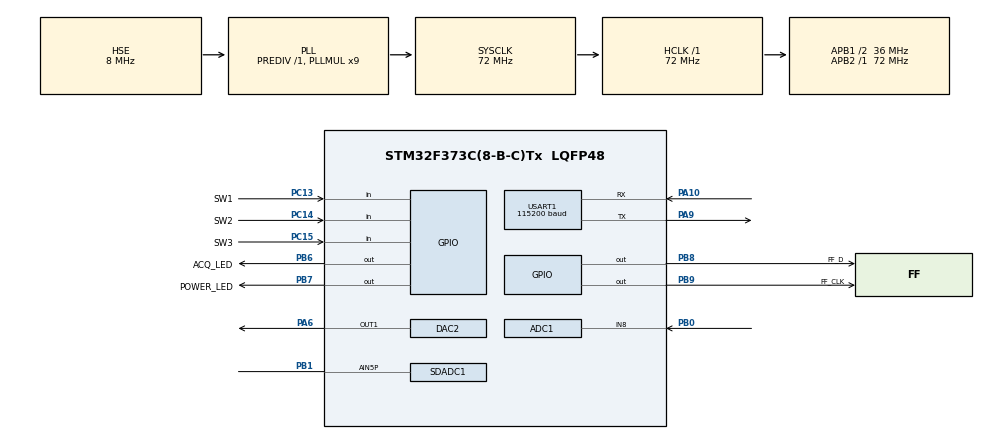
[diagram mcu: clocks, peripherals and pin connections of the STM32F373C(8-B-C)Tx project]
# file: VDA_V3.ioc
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ADC1.Channel-1\#ChannelRegularConversion=ADC_CHANNEL_8
ADC1.NbrOfConversionFlag=1
ADC1.Rank-1\#ChannelRegularConversion=1
ADC1.SamplingTime-1\#ChannelRegularConversion=ADC_SAMPLETIME_1CYCLE_5
ADC1.master=1
Mcu.Family=STM32F3
Mcu.Name=STM32F373C(8-B-C)Tx
Mcu.Package=LQFP48
NVIC.PriorityGroup=NVIC_PRIORITYGROUP_4
NVIC.TIM19_IRQn=true\:0\:0\:false\:false\:true\:true\:true\:true
NVIC.TIM2_IRQn=true\:0\:0\:false\:false\:true\:true\:true\:true
NVIC.USART1_IRQn=true\:0\:0\:false\:false\:true\:true\:true\:true
PA10.Mode=Asynchronous
PA10.Signal=USART1_RX
PA13.Mode=Serial_Wire
PA13.Signal=SYS_JTMS-SWDIO
PA14.Mode=Serial_Wire
PA14.Signal=SYS_JTCK-SWCLK
PA6.Signal=COMP_DAC21_group
PA9.Mode=Asynchronous
PA9.Signal=USART1_TX
PB0.Mode=IN8
PB0.Signal=ADC1_IN8
PB1.Mode=IN5-Single-Ended zero reference
PB1.Signal=SDADC1_AIN5P
PB6.GPIO_Label=ACQ_LED
PB6.Signal=GPIO_Output
PB7.GPIO_Label=POWER_LED
PB7.Signal=GPIO_Output
PB8.GPIO_Label=FF_D
PB8.Signal=GPIO_Output
PB9.GPIO_Label=FF_CLK
PB9.Signal=GPIO_Output
PC13.GPIO_Label=SW1
PC13.Signal=GPIO_Input
PC14-OSC32_IN.GPIO_Label=SW2
PC14-OSC32_IN.Signal=GPIO_Input
PC15-OSC32_OUT.GPIO_Label=SW3
PC15-OSC32_OUT.Signal=GPIO_Input
PF0-OSC_IN.Mode=HSE-External-Oscillator
PF0-OSC_IN.Signal=RCC_OSC_IN
PF1-OSC_OUT.Mode=HSE-External-Oscillator
PF1-OSC_OUT.Signal=RCC_OSC_OUT
ProjectManager.HeapSize=0x200
ProjectManager.StackSize=0x400
ProjectManager.TargetToolchain=STM32CubeIDE
RCC.AHBFreq_Value=72000000
RCC.APB1CLKDivider=RCC_HCLK_DIV2
RCC.APB1Freq_Value=36000000
RCC.APB1TimFreq_Value=72000000
RCC.APB2Freq_Value=72000000
RCC.APB2TimFreq_Value=72000000
RCC.CortexFreq_Value=72000000
RCC.HCLKFreq_Value=72000000
RCC.HSE_VALUE=8000000
RCC.HSI_VALUE=8000000
RCC.LSE_VALUE=32768
RCC.PLLMUL=RCC_PLL_MUL9
RCC.PLLSourceVirtual=RCC_PLLSOURCE_HSE
RCC.SDADCPresc=RCC_SDADCSYSCLK_DIV12
RCC.SYSCLKFreq_VALUE=72000000
RCC.SYSCLKSource=RCC_SYSCLKSOURCE_PLLCLK
RCC.USBFreq_Value=72000000
SDADC1.EnableInjectedConversion=ENABLE
SDADC1.EnableRegularconversion=DISABLE
SDADC1.Gain0=SDADC_GAIN_1_2
SDADC1.InjNumberOfConversion=1
SDADC1.InjectedChannel-0\#ChannelInjectedConversion=SDADC_CHANNEL_5
SDADC1.InjectedChannelsSelection=SDADC_CHANNEL_5
SDADC1.InjectedConfIndex-0\#ChannelInjectedConversion=SDADC_CONF_INDEX_0
SDADC1.InjectedRank-0\#ChannelInjectedConversion=1
SDADC1.InputMode0=SDADC_INPUT_MODE_SE_ZERO_REFERENCE
SDADC1.NbrOfConversionFlag=1
SDADC1.ReferenceVoltage=SDADC_VREF_VREFINT2
SH.COMP_DAC21_group.0=DAC2_OUT1,DAC_OUT1
TIM19.AutoReloadPreload=TIM_AUTORELOAD_PRELOAD_ENABLE
TIM19.Period=10000-1
TIM19.Prescaler=7200-1
TIM2.AutoReloadPreload=TIM_AUTORELOAD_PRELOAD_ENABLE
TIM2.Period=49999
TIM2.Prescaler=7
USART1.BaudRate=115200
USART1.VirtualMode-Asynchronous=VM_ASYNC
VP_SDADC1_CONF0.Mode=ConfigZero
VP_TIM19_VS_ClockSourceINT.Mode=Internal
VP_TIM2_VS_ClockSourceINT.Mode=Internal
board=custom

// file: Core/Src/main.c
/* USER CODE BEGIN Header */
/**
 ******************************************************************************
 * @file           : main.c
 * @brief          : Main program body
 ******************************************************************************
 * @attention
 *
 * Copyright (c) 2025 STMicroelectronics.
 * All rights reserved.
 *
 * This software is licensed under terms that can be found in the LICENSE file
 * in the root directory of this software component.
 * If no LICENSE file comes with this software, it is provided AS-IS.
 *
 ******************************************************************************
 */
/* USER CODE END Header */
#include "main.h"

/* USER CODE BEGIN Includes */
#include "state_machine.h"
#include "filters.h"
#include "serial_handler.h"
#include "agc.h"
#include "PID.h"
/* USER CODE END Includes */

ADC_HandleTypeDef hadc1;
DAC_HandleTypeDef hdac2;
SDADC_HandleTypeDef hsdadc1;
TIM_HandleTypeDef htim2;
TIM_HandleTypeDef htim19;
UART_HandleTypeDef huart1;

/* USER CODE BEGIN PV */
uint8_t programming_mode = 0;
uint8_t blink_ACQ_LED = 0;
uint8_t flag_new_sample = 0;
uint32_t gain;
uint32_t filtered_gain;
uint16_t lectura_vda;
uint16_t filtered_vda;

float setpoint = 45000;		// Lectura del ADC buscada para el algoritmo de AGC
uint16_t outPID;			// Salida de PID convertida a entero

/* USER CODE END PV */

void SystemClock_Config(void);
static void MX_GPIO_Init(void);
static void MX_SDADC1_Init(void);
static void MX_USART1_UART_Init(void);
static void MX_TIM2_Init(void);
static void MX_ADC1_Init(void);
static void MX_DAC2_Init(void);
static void MX_TIM19_Init(void);
/* USER CODE BEGIN PFP */
uint16_t Read_ADC(SDADC_HandleTypeDef *hsdadc);
/* USER CODE END PFP */

int main(void) {

	/* USER CODE BEGIN 1 */

	FiltroMediaMovil filtro_potentiometer;
	FiltroMediaMovil filtro_out_PID;
	FiltroMediaMovil_Init(&filtro_potentiometer, 30);	// Filtro con ventana de tamaño 30
	FiltroMediaMovil_Init(&filtro_out_PID, 3);       // Filtro con ventana de tamaño 3

	/* Inicializo el Controlador PID*/
	PIDController pid = { PID_KP, PID_KI, PID_KD,
	PID_LIM_MIN, PID_LIM_MAX,
	PID_LIM_MIN_INT, PID_LIM_MAX_INT,
	T_MUESTREO * 0.001 };
	PIDController_Init(&pid);

	/* USER CODE END 1 */

	/* MCU Configuration--------------------------------------------------------*/

	/* Reset of all peripherals, Initializes the Flash interface and the Systick. */
	HAL_Init();

	/* Configure the system clock */
	SystemClock_Config();

	/* Initialize all configured peripherals */
	MX_GPIO_Init();
	MX_SDADC1_Init();
	MX_USART1_UART_Init();
	MX_TIM2_Init();
	MX_ADC1_Init();
	MX_DAC2_Init();
	MX_TIM19_Init();
	/* USER CODE BEGIN 2 */
	HAL_TIM_Base_Start_IT(&htim2);
	HAL_TIM_Base_Start_IT(&htim19);
	HAL_DAC_Start(&hdac2, DAC_CHANNEL_1);
	SerialHandler_Init(&huart1);
	HAL_GPIO_WritePin(POWER_LED_GPIO_Port, POWER_LED_Pin, 1);
	/* USER CODE END 2 */

	/* Infinite loop */
	while (1) {

		/* USER CODE BEGIN 3 */

		if (flag_new_sample == 1) {
			if (current_state == STATE_MANUAL_OPERATION|| current_state == STATE_ACQUIRING_MANUAL) {
				HAL_ADC_Start(&hadc1);
				HAL_ADC_PollForConversion(&hadc1, 10);
				gain = HAL_ADC_GetValue(&hadc1);
				filtered_gain = (uint16_t)FiltroMediaMovil_Update(&filtro_potentiometer, gain);
				HAL_ADC_Stop(&hadc1);
				HAL_DAC_SetValue(&hdac2, DAC_CHANNEL_1, DAC_ALIGN_12B_R,
						filtered_gain);
				lectura_vda = Read_ADC(&hsdadc1);
				filtered_vda = iir_filter(lectura_vda, num_notch, den_notch,
						FILTER_ORDER, FILTER_ORDER, x_notch, y_notch);
				SerialHandler_SendData(filtered_vda);

			}else if (current_state == STATE_AUTOMATIC_OPERATION) {

				lectura_vda = Read_ADC(&hsdadc1);
				filtered_vda = iir_filter(lectura_vda, num_notch, den_notch, FILTER_ORDER, FILTER_ORDER, x_notch, y_notch);

				// Decimacion para el AGC 180Hz -> 36Hz
				static uint8_t counter = 0;
				counter++;
				if (counter >= 5) {
					AGC_AddSample(filtered_vda);
					counter = 0;
				}

				uint16_t signal_amplitude;
				signal_amplitude = AGC_GetMax();
				outPID = (uint16_t)(PIDController_Update(&pid, setpoint, (float)signal_amplitude));
				gain =  (uint16_t)FiltroMediaMovil_Update(&filtro_out_PID, outPID);
				HAL_DAC_SetValue(&hdac2, DAC_CHANNEL_1, DAC_ALIGN_12B_R, gain);
				SerialHandler_SendData(filtered_vda);

			}else if (current_state == STATE_ACQUIRING_AUTO) {

				lectura_vda = Read_ADC(&hsdadc1);
				filtered_vda = iir_filter(lectura_vda, num_notch, den_notch, FILTER_ORDER, FILTER_ORDER, x_notch, y_notch);
				HAL_DAC_SetValue(&hdac2, DAC_CHANNEL_1, DAC_ALIGN_12B_R, gain);
				SerialHandler_SendData(filtered_vda);
			}

			flag_new_sample = 0;
		}

		if (programming_mode) {
			HAL_GPIO_WritePin(FF_D_GPIO_Port, FF_D_Pin, 1);
			HAL_GPIO_WritePin(FF_CLK_GPIO_Port, FF_CLK_Pin, 0);
			HAL_Delay(1);
			HAL_GPIO_WritePin(FF_CLK_GPIO_Port, FF_CLK_Pin, 1);
			HAL_Delay(1);
			HAL_GPIO_WritePin(FF_CLK_GPIO_Port, FF_CLK_Pin, 1);
			NVIC_SystemReset();

			//programming_mode = 0; // Reinicia el flag después de procesar
		}

	}
	/* USER CODE END 3 */
}

void SystemClock_Config(void) {
	RCC_OscInitTypeDef RCC_OscInitStruct = { 0 };
	RCC_ClkInitTypeDef RCC_ClkInitStruct = { 0 };
	RCC_PeriphCLKInitTypeDef PeriphClkInit = { 0 };

	/** Initializes the RCC Oscillators according to the specified parameters
	 * in the RCC_OscInitTypeDef structure.
	 */
	RCC_OscInitStruct.OscillatorType = RCC_OSCILLATORTYPE_HSE;
	RCC_OscInitStruct.HSEState = RCC_HSE_ON;
	RCC_OscInitStruct.HSEPredivValue = RCC_HSE_PREDIV_DIV1;
	RCC_OscInitStruct.HSIState = RCC_HSI_ON;
	RCC_OscInitStruct.PLL.PLLState = RCC_PLL_ON;
	RCC_OscInitStruct.PLL.PLLSource = RCC_PLLSOURCE_HSE;
	RCC_OscInitStruct.PLL.PLLMUL = RCC_PLL_MUL9;
	if (HAL_RCC_OscConfig(&RCC_OscInitStruct) != HAL_OK) {
		Error_Handler();
	}

	/** Initializes the CPU, AHB and APB buses clocks
	 */
	RCC_ClkInitStruct.ClockType = RCC_CLOCKTYPE_HCLK | RCC_CLOCKTYPE_SYSCLK
			| RCC_CLOCKTYPE_PCLK1 | RCC_CLOCKTYPE_PCLK2;
	RCC_ClkInitStruct.SYSCLKSource = RCC_SYSCLKSOURCE_PLLCLK;
	RCC_ClkInitStruct.AHBCLKDivider = RCC_SYSCLK_DIV1;
	RCC_ClkInitStruct.APB1CLKDivider = RCC_HCLK_DIV2;
	RCC_ClkInitStruct.APB2CLKDivider = RCC_HCLK_DIV1;

	if (HAL_RCC_ClockConfig(&RCC_ClkInitStruct, FLASH_LATENCY_2) != HAL_OK) {
		Error_Handler();
	}
	PeriphClkInit.PeriphClockSelection = RCC_PERIPHCLK_USART1
			| RCC_PERIPHCLK_ADC1 | RCC_PERIPHCLK_SDADC;
	PeriphClkInit.Usart1ClockSelection = RCC_USART1CLKSOURCE_PCLK2;
	PeriphClkInit.SdadcClockSelection = RCC_SDADCSYSCLK_DIV12;
	PeriphClkInit.Adc1ClockSelection = RCC_ADC1PCLK2_DIV2;

	if (HAL_RCCEx_PeriphCLKConfig(&PeriphClkInit) != HAL_OK) {
		Error_Handler();
	}
	HAL_PWREx_EnableSDADC(PWR_SDADC_ANALOG1);
}

static void MX_ADC1_Init(void) {

	ADC_ChannelConfTypeDef sConfig = { 0 };

	/** Common config
	 */
	hadc1.Instance = ADC1;
	hadc1.Init.ScanConvMode = ADC_SCAN_DISABLE;
	hadc1.Init.ContinuousConvMode = DISABLE;
	hadc1.Init.DiscontinuousConvMode = DISABLE;
	hadc1.Init.ExternalTrigConv = ADC_SOFTWARE_START;
	hadc1.Init.DataAlign = ADC_DATAALIGN_RIGHT;
	hadc1.Init.NbrOfConversion = 1;
	if (HAL_ADC_Init(&hadc1) != HAL_OK) {
		Error_Handler();
	}

	/** Configure Regular Channel
	 */
	sConfig.Channel = ADC_CHANNEL_8;
	sConfig.Rank = ADC_REGULAR_RANK_1;
	sConfig.SamplingTime = ADC_SAMPLETIME_1CYCLE_5;
	if (HAL_ADC_ConfigChannel(&hadc1, &sConfig) != HAL_OK) {
		Error_Handler();
	}

}

static void MX_DAC2_Init(void) {

	DAC_ChannelConfTypeDef sConfig = { 0 };

	/** DAC Initialization
	 */
	hdac2.Instance = DAC2;
	if (HAL_DAC_Init(&hdac2) != HAL_OK) {
		Error_Handler();
	}

	/** DAC channel OUT1 config
	 */
	sConfig.DAC_Trigger = DAC_TRIGGER_NONE;
	sConfig.DAC_OutputBuffer = DAC_OUTPUTBUFFER_ENABLE;
	if (HAL_DAC_ConfigChannel(&hdac2, &sConfig, DAC_CHANNEL_1) != HAL_OK) {
		Error_Handler();
	}

}

static void MX_SDADC1_Init(void) {

	SDADC_ConfParamTypeDef ConfParamStruct = { 0 };

	/** Configure the SDADC low power mode, fast conversion mode,
	 slow clock mode and SDADC1 reference voltage
	 */
	hsdadc1.Instance = SDADC1;
	hsdadc1.Init.IdleLowPowerMode = SDADC_LOWPOWER_NONE;
	hsdadc1.Init.FastConversionMode = SDADC_FAST_CONV_DISABLE;
	hsdadc1.Init.SlowClockMode = SDADC_SLOW_CLOCK_DISABLE;
	hsdadc1.Init.ReferenceVoltage = SDADC_VREF_VREFINT2;
	hsdadc1.InjectedTrigger = SDADC_SOFTWARE_TRIGGER;
	if (HAL_SDADC_Init(&hsdadc1) != HAL_OK) {
		Error_Handler();
	}

	/** Configure the Injected Mode
	 */
	if (HAL_SDADC_SelectInjectedDelay(&hsdadc1, SDADC_INJECTED_DELAY_NONE)
			!= HAL_OK) {
		Error_Handler();
	}
	if (HAL_SDADC_SelectInjectedTrigger(&hsdadc1, SDADC_SOFTWARE_TRIGGER)
			!= HAL_OK) {
		Error_Handler();
	}
	if (HAL_SDADC_InjectedConfigChannel(&hsdadc1, SDADC_CHANNEL_5,
			SDADC_CONTINUOUS_CONV_OFF) != HAL_OK) {
		Error_Handler();
	}

	/** Set parameters for SDADC configuration 0 Register
	 */
	ConfParamStruct.InputMode = SDADC_INPUT_MODE_SE_ZERO_REFERENCE;
	ConfParamStruct.Gain = SDADC_GAIN_1_2;
	ConfParamStruct.CommonMode = SDADC_COMMON_MODE_VSSA;
	ConfParamStruct.Offset = 0;
	if (HAL_SDADC_PrepareChannelConfig(&hsdadc1, SDADC_CONF_INDEX_0,
			&ConfParamStruct) != HAL_OK) {
		Error_Handler();
	}

	/** Configure the Injected Channel
	 */
	if (HAL_SDADC_AssociateChannelConfig(&hsdadc1, SDADC_CHANNEL_5,
			SDADC_CONF_INDEX_0) != HAL_OK) {
		Error_Handler();
	}

}

static void MX_TIM2_Init(void) {

	TIM_ClockConfigTypeDef sClockSourceConfig = { 0 };
	TIM_MasterConfigTypeDef sMasterConfig = { 0 };

	htim2.Instance = TIM2;
	htim2.Init.Prescaler = 7;
	htim2.Init.CounterMode = TIM_COUNTERMODE_UP;
	htim2.Init.Period = 49999;
	htim2.Init.ClockDivision = TIM_CLOCKDIVISION_DIV1;
	htim2.Init.AutoReloadPreload = TIM_AUTORELOAD_PRELOAD_ENABLE;
	if (HAL_TIM_Base_Init(&htim2) != HAL_OK) {
		Error_Handler();
	}
	sClockSourceConfig.ClockSource = TIM_CLOCKSOURCE_INTERNAL;
	if (HAL_TIM_ConfigClockSource(&htim2, &sClockSourceConfig) != HAL_OK) {
		Error_Handler();
	}
	sMasterConfig.MasterOutputTrigger = TIM_TRGO_RESET;
	sMasterConfig.MasterSlaveMode = TIM_MASTERSLAVEMODE_DISABLE;
	if (HAL_TIMEx_MasterConfigSynchronization(&htim2, &sMasterConfig)
			!= HAL_OK) {
		Error_Handler();
	}

}

static void MX_TIM19_Init(void) {

	TIM_ClockConfigTypeDef sClockSourceConfig = { 0 };
	TIM_MasterConfigTypeDef sMasterConfig = { 0 };

	htim19.Instance = TIM19;
	htim19.Init.Prescaler = 7200 - 1;
	htim19.Init.CounterMode = TIM_COUNTERMODE_UP;
	htim19.Init.Period = 10000 - 1;
	htim19.Init.ClockDivision = TIM_CLOCKDIVISION_DIV1;
	htim19.Init.AutoReloadPreload = TIM_AUTORELOAD_PRELOAD_ENABLE;
	if (HAL_TIM_Base_Init(&htim19) != HAL_OK) {
		Error_Handler();
	}
	sClockSourceConfig.ClockSource = TIM_CLOCKSOURCE_INTERNAL;
	if (HAL_TIM_ConfigClockSource(&htim19, &sClockSourceConfig) != HAL_OK) {
		Error_Handler();
	}
	sMasterConfig.MasterOutputTrigger = TIM_TRGO_RESET;
	sMasterConfig.MasterSlaveMode = TIM_MASTERSLAVEMODE_DISABLE;
	if (HAL_TIMEx_MasterConfigSynchronization(&htim19, &sMasterConfig)
			!= HAL_OK) {
		Error_Handler();
	}

}

static void MX_USART1_UART_Init(void) {

	huart1.Instance = USART1;
	huart1.Init.BaudRate = 115200;
	huart1.Init.WordLength = UART_WORDLENGTH_8B;
	huart1.Init.StopBits = UART_STOPBITS_1;
	huart1.Init.Parity = UART_PARITY_NONE;
	huart1.Init.Mode = UART_MODE_TX_RX;
	huart1.Init.HwFlowCtl = UART_HWCONTROL_NONE;
	huart1.Init.OverSampling = UART_OVERSAMPLING_16;
	huart1.Init.OneBitSampling = UART_ONE_BIT_SAMPLE_DISABLE;
	huart1.AdvancedInit.AdvFeatureInit = UART_ADVFEATURE_NO_INIT;
	if (HAL_UART_Init(&huart1) != HAL_OK) {
		Error_Handler();
	}

}

static void MX_GPIO_Init(void) {
	GPIO_InitTypeDef GPIO_InitStruct = { 0 };

	/* GPIO Ports Clock Enable */
	__HAL_RCC_GPIOC_CLK_ENABLE();
	__HAL_RCC_GPIOF_CLK_ENABLE();
	__HAL_RCC_GPIOA_CLK_ENABLE();
	__HAL_RCC_GPIOB_CLK_ENABLE();

	/*Configure GPIO pin Output Level */
	HAL_GPIO_WritePin(GPIOB,
			ACQ_LED_Pin | POWER_LED_Pin | FF_D_Pin | FF_CLK_Pin,
			GPIO_PIN_RESET);

	/*Configure GPIO pins : SW1_Pin SW2_Pin SW3_Pin */
	GPIO_InitStruct.Pin = SW1_Pin | SW2_Pin | SW3_Pin;
	GPIO_InitStruct.Mode = GPIO_MODE_INPUT;
	GPIO_InitStruct.Pull = GPIO_NOPULL;
	HAL_GPIO_Init(GPIOC, &GPIO_InitStruct);

	/*Configure GPIO pins : ACQ_LED_Pin POWER_LED_Pin FF_D_Pin FF_CLK_Pin */
	GPIO_InitStruct.Pin = ACQ_LED_Pin | POWER_LED_Pin | FF_D_Pin | FF_CLK_Pin;
	GPIO_InitStruct.Mode = GPIO_MODE_OUTPUT_PP;
	GPIO_InitStruct.Pull = GPIO_NOPULL;
	GPIO_InitStruct.Speed = GPIO_SPEED_FREQ_LOW;
	HAL_GPIO_Init(GPIOB, &GPIO_InitStruct);

}

/* USER CODE BEGIN 4 */

void HAL_TIM_PeriodElapsedCallback(TIM_HandleTypeDef *htim) {
	if (htim->Instance == TIM2) {
		flag_new_sample = 1;

	} else if (htim->Instance == TIM19) {
		if (blink_ACQ_LED == 1) {
			HAL_GPIO_TogglePin(ACQ_LED_GPIO_Port, ACQ_LED_Pin);
		}

	}

}

uint16_t Read_ADC(SDADC_HandleTypeDef *hsdadc) {
	int16_t adcVal;
	uint32_t channel;
	uint16_t vin;

	// Inicia la conversión inyectada
	HAL_SDADC_InjectedStart(hsdadc);

	// Espera a que la conversión se complete
	HAL_SDADC_PollForInjectedConversion(hsdadc, HAL_MAX_DELAY);

	// Obtiene el valor del ADC
	adcVal = HAL_SDADC_InjectedGetValue(hsdadc, &channel);

	// Detiene la conversión
	HAL_SDADC_InjectedStop(hsdadc);

	// Calcula el voltaje en base al valor del ADC
	vin = (adcVal + 32768);

	return vin; // Retorna el valor en voltios
}

/* USER CODE END 4 */

void Error_Handler(void) {
	__disable_irq();
	while (1) {
	}
}
